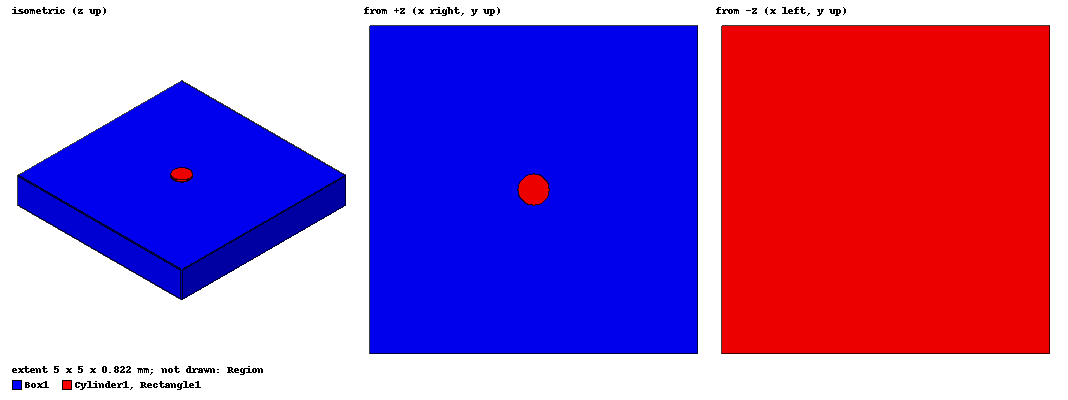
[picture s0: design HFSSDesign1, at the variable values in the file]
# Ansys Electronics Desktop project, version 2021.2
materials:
  vacuum: permittivity=1
  Rogers RT/duroid 5880 (tm): permittivity=2.2 dielectric_loss_tangent=0.0009
  pec: conductivity=1e+30
  copper: permeability=0.999991 conductivity=58000000

design HFSSDesign1 (HFSS, DrivenModal, model units mm)
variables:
  Xsize = 5mm
  Ysize = 5mm
  H = 0.787mm
  margin = 1mm
  radius = 0.2367533mm
  parameters = [0.2] mm
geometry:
  Rectangle1 = rectangle(corner=(0mm, 0mm, 0mm), x_size=Xsize, y_size=Ysize)
  Box1 [Rogers RT/duroid 5880 (tm)] = box(corner=(0mm, 0mm, 0mm), size=(Xsize, Ysize, H))
  Cylinder1 [pec] = cylinder(axis=Z, base_centre=(Xsize/2, Ysize/2, H), radius=radius, height=0.035mm)
  Region [vacuum] = region(absolute_offset: +X=0mm, -X=0mm, +Y=0mm, -Y=0mm, +Z=10mm, -Z=10mm)
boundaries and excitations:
  PerfE1: Perfect E Objects=Rectangle1
  Primary1: Primary Faces=Region.face(+x) CoordSysVector{Region.vertex(1 of 8) -> Region.vertex(2 of 8)}
  Primary2: Primary Faces=Region.face(+y) CoordSysVector{Region.vertex(2 of 8) -> Region.vertex(3 of 8)}
  Secondary1: Secondary Faces=Region.face(-y) CoordSysVector{Region.vertex(1 of 8) -> Region.vertex(4 of 8)} ReverseV primary=Primary2 PhaseDelay=UseScanAngle Phi=0deg Theta=0deg
  Secondary2: Secondary Faces=Region.face(-x) CoordSysVector{Region.vertex(4 of 8) -> Region.vertex(3 of 8)} ReverseV primary=Primary1 PhaseDelay=UseScanAngle Phi=0deg Theta=0deg
  FloquetPort1: Floquet Port Faces=Region.face(+z) NumModes=2 DeembedDist=10mm Modes{Mode1{CharImp=Zpi} Mode2{CharImp=Zpi}} PhaseDelay=UseScanAngle Phi=0deg Theta=0deg LatticeAVector{Region.vertex(1 of 8) -> Region.vertex(2 of 8)} LatticeBVector{Region.vertex(1 of 8) -> Region.vertex(4 of 8)} ModesList{Mode{ModeNumber=1 IndexM=0 IndexN=0 KC2=0 PropagationState=Propagating Attenuation=0 PolarizationState=TE AffectsRefinement} Mode{ModeNumber=2 IndexM=0 IndexN=0 KC2=0 PropagationState=Propagating Attenuation=0 PolarizationState=TM AffectsRefinement}}
  FloquetPort2: Floquet Port Faces=Region.face(-z) NumModes=2 DeembedDist=10mm Modes{Mode1{CharImp=Zpi} Mode2{CharImp=Zpi}} PhaseDelay=UseScanAngle Phi=0deg Theta=0deg LatticeAVector{Region.vertex(6 of 8) -> Region.vertex(5 of 8)} LatticeBVector{Region.vertex(6 of 8) -> Region.vertex(7 of 8)} ModesList{Mode{ModeNumber=1 IndexM=0 IndexN=0 KC2=0 PropagationState=Propagating Attenuation=0 PolarizationState=TE AffectsRefinement} Mode{ModeNumber=2 IndexM=0 IndexN=0 KC2=0 PropagationState=Propagating Attenuation=0 PolarizationState=TM AffectsRefinement}}
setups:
  Setup2: HfssDriven Frequency=60GHz MaxDeltaS=0.02 MaximumPasses=8 MinimumPasses=2 MinimumConvergedPasses=2 PercentRefinement=60 BasisOrder=1 PortAccuracy=2
    sweep Sweep: 70GHz to 80GHz step 0.1GHz; Type=Interpolating InterpTolerance=0.5 InterpMaxSolns=250 InterpUsePortImped=false PassivityErrorTolerance=0.0001
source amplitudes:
  FloquetPort1:1: 1W 0deg
  FloquetPort1:2, FloquetPort2:1, FloquetPort2:2: 0W 0deg
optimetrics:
  ParametricSetup1: Parametric Sim._Setups=[Setup2]
    sweep radius: LIN 0.5mm 4.4mm 0.1mm
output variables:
  AbsorbanceTM = 1-((mag(S(FloquetPort1:2,FloquetPort1:2)))^2 +(mag(S(FloquetPort2:2,FloquetPort1:2)))^2)
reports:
  Absorption: AbsorbanceTM vs Freq on Setup2 : LastAdaptive; markers MX1 at x=5.5569853e+10
  Absorption_1: AbsorbanceTM vs Freq on Setup2 : Sweep [radius=all]; markers MX1 at x=5.5569853e+10
